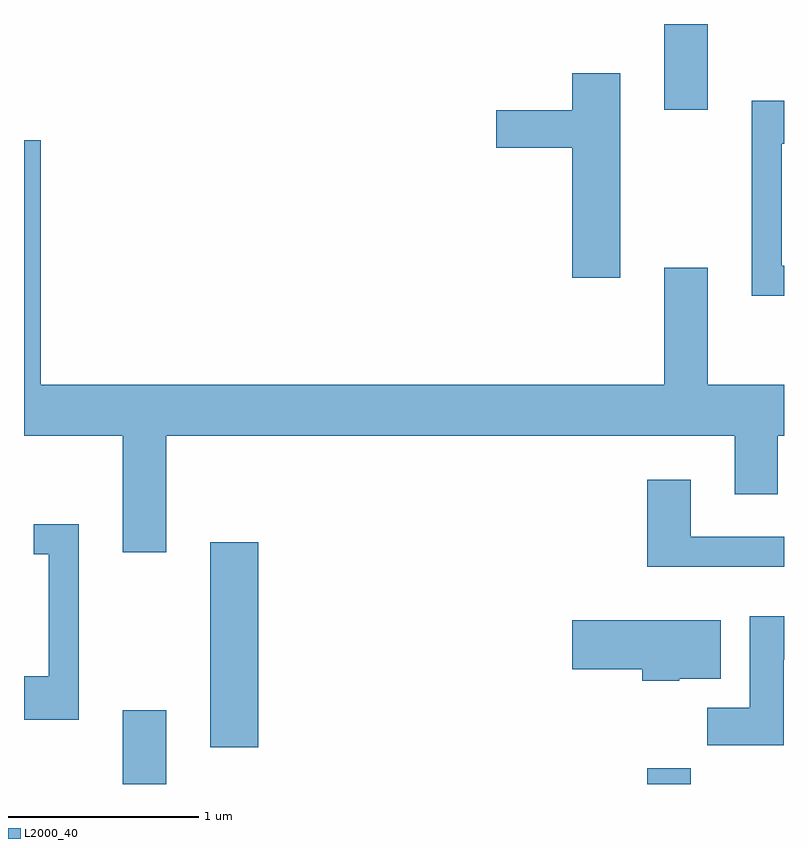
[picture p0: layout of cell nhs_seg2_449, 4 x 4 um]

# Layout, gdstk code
import gdstk
lib = gdstk.Library(unit=1e-6, precision=1e-09)
def R(c, l, rs):  # rectangles x0, y0, x1, y1
    for r in rs: c.add(gdstk.rectangle(r[:2], r[2:], *l))
def P(c, l, *ps):  # polygons
    for p in ps: c.add(gdstk.Polygon(p, *l))
L2000_40 = (2000, 40)

nhs_seg2_449 = lib.new_cell('nhs_seg2_449')
R(nhs_seg2_449, L2000_40, [(198.131,1059.802,198.359,1060.189), (200.891,1059.802,201.119,1059.884), (198.591,1059.996,198.844,1061.074), (200.981,1063.351,201.209,1063.802)])
P(nhs_seg2_449, L2000_40, [(200.749,1063.544),(200.496,1063.544),(200.496,1063.349),(200.096,1063.349),(200.096,1063.151),(200.496,1063.151),(200.496,1062.466),(200.749,1062.466)],
  [(201.611,1062.529),(201.599,1062.529),(201.599,1063.171),(201.611,1063.171),(201.611,1063.399),(201.441,1063.399),(201.441,1062.371),(201.611,1062.371)],
  [(198.359,1061.636),(201.351,1061.636),(201.351,1061.326),(201.579,1061.326),(201.579,1061.636),(201.611,1061.636),(201.611,1061.904),(201.209,1061.904),(201.209,1062.519),(200.981,1062.519),(200.981,1061.904),(197.699,1061.904),(197.699,1063.189),(197.611,1063.189),(197.611,1061.636),(198.131,1061.636),(198.131,1061.021),(198.359,1061.021)],
  [(201.611,1061.104),(201.119,1061.104),(201.119,1061.404),(200.891,1061.404),(200.891,1060.946),(201.611,1060.946)],
  [(197.899,1061.169),(197.663,1061.169),(197.663,1061.011),(197.741,1061.011),(197.741,1060.369),(197.611,1060.369),(197.611,1060.141),(197.899,1060.141)],
  [(201.609,1060.456),(201.611,1060.456),(201.611,1060.684),(201.431,1060.684),(201.431,1060.204),(201.206,1060.204),(201.206,1060.006),(201.609,1060.006)],
  [(201.06,1060.356),(201.279,1060.356),(201.279,1060.664),(200.496,1060.664),(200.496,1060.406),(200.866,1060.406),(200.866,1060.346),(201.06,1060.346)])

lib.write_gds('nhs_seg2_449.gds')
